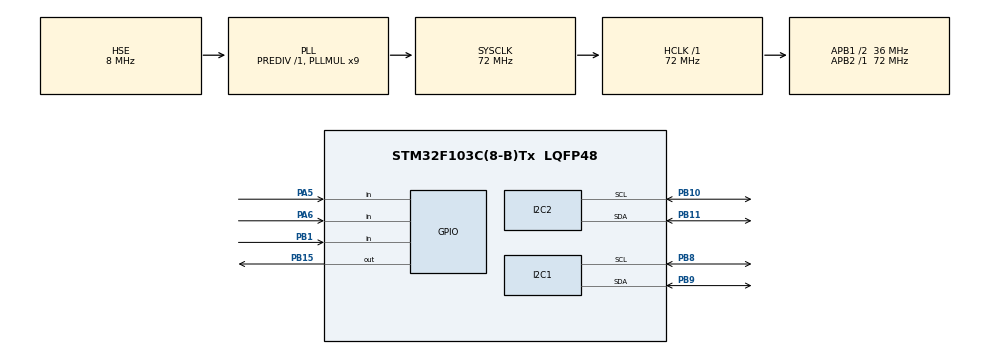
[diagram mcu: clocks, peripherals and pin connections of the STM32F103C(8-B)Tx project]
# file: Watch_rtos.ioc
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FREERTOS.Tasks01=defaultTask,24,128,StartDefaultTask,Default,NULL,Dynamic,NULL,NULL
Mcu.Family=STM32F1
Mcu.Name=STM32F103C(8-B)Tx
Mcu.Package=LQFP48
NVIC.PriorityGroup=NVIC_PRIORITYGROUP_4
NVIC.TIM4_IRQn=true\:15\:0\:false\:false\:true\:false\:false\:true\:true
NVIC.TimeBase=TIM4_IRQn
NVIC.TimeBaseIP=TIM4
PA13.Mode=Serial_Wire
PA13.Signal=SYS_JTMS-SWDIO
PA14.Mode=Serial_Wire
PA14.Signal=SYS_JTCK-SWCLK
PA5.GPIO_PuPd=GPIO_PULLUP
PA5.Signal=GPIO_Input
PA6.GPIO_PuPd=GPIO_PULLUP
PA6.Signal=GPIO_Input
PB1.GPIO_PuPd=GPIO_PULLUP
PB1.Signal=GPIO_Input
PB10.Mode=I2C
PB10.Signal=I2C2_SCL
PB11.Mode=I2C
PB11.Signal=I2C2_SDA
PB15.PinState=GPIO_PIN_SET
PB15.Signal=GPIO_Output
PB8.Mode=I2C
PB8.Signal=I2C1_SCL
PB9.Mode=I2C
PB9.Signal=I2C1_SDA
PD0-OSC_IN.Mode=HSE-External-Oscillator
PD0-OSC_IN.Signal=RCC_OSC_IN
PD1-OSC_OUT.Mode=HSE-External-Oscillator
PD1-OSC_OUT.Signal=RCC_OSC_OUT
ProjectManager.HeapSize=0x200
ProjectManager.StackSize=0x400
ProjectManager.TargetToolchain=MDK-ARM V5.32
RCC.AHBFreq_Value=72000000
RCC.APB1CLKDivider=RCC_HCLK_DIV2
RCC.APB1Freq_Value=36000000
RCC.APB1TimFreq_Value=72000000
RCC.APB2Freq_Value=72000000
RCC.APB2TimFreq_Value=72000000
RCC.HCLKFreq_Value=72000000
RCC.PLLMUL=RCC_PLL_MUL9
RCC.PLLSourceVirtual=RCC_PLLSOURCE_HSE
RCC.SYSCLKFreq_VALUE=72000000
RCC.SYSCLKSource=RCC_SYSCLKSOURCE_PLLCLK
RCC.USBFreq_Value=72000000
VP_FREERTOS_VS_CMSIS_V2.Mode=CMSIS_V2
VP_RTC_VS_RTC_Activate.Mode=RTC_Enabled
VP_RTC_VS_RTC_Calendar.Mode=RTC_Calendar
VP_SYS_VS_tim4.Mode=TIM4
board=custom

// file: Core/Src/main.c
/* USER CODE BEGIN Header */
/**
  ******************************************************************************
  * @file           : main.c
  * @brief          : Main program body
  ******************************************************************************
  * @attention
  *
  * Copyright (c) 2026 STMicroelectronics.
  * All rights reserved.
  *
  * This software is licensed under terms that can be found in the LICENSE file
  * in the root directory of this software component.
  * If no LICENSE file comes with this software, it is provided AS-IS.
  *
  ******************************************************************************
  */
/* USER CODE END Header */
#include "main.h"
#include "cmsis_os.h"
#include "i2c.h"
#include "rtc.h"
#include "gpio.h"

/* USER CODE BEGIN Includes */
#include "OLED.h"
#include <stdio.h>
#include <string.h>
/* USER CODE END Includes */

/* USER CODE BEGIN PV */
/* Stopwatch variables */
uint8_t SW_Running = 0;
uint8_t SW_Min = 0;
uint8_t SW_Sec = 0;
uint16_t SW_ms = 0;
/* USER CODE END PV */

void SystemClock_Config(void);
void MX_FREERTOS_Init(void);

int main(void)
{

  /* MCU Configuration--------------------------------------------------------*/

  /* Reset of all peripherals, Initializes the Flash interface and the Systick. */
  HAL_Init();

  /* Configure the system clock */
  SystemClock_Config();

  /* Initialize all configured peripherals */
  MX_GPIO_Init();
  MX_I2C1_Init();
  MX_I2C2_Init();
  MX_RTC_Init();

  /* Init scheduler */
  osKernelInitialize();

  /* Call init function for freertos objects (in cmsis_os2.c) */
  MX_FREERTOS_Init();

  /* Start scheduler */
  osKernelStart();

  /* We should never get here as control is now taken by the scheduler */

  /* Infinite loop */
  while (1)
  {

  }
}

void SystemClock_Config(void)
{
  RCC_OscInitTypeDef RCC_OscInitStruct = {0};
  RCC_ClkInitTypeDef RCC_ClkInitStruct = {0};
  RCC_PeriphCLKInitTypeDef PeriphClkInit = {0};

  /** Initializes the RCC Oscillators according to the specified parameters
  * in the RCC_OscInitTypeDef structure.
  */
  RCC_OscInitStruct.OscillatorType = RCC_OSCILLATORTYPE_LSI|RCC_OSCILLATORTYPE_HSE;
  RCC_OscInitStruct.HSEState = RCC_HSE_ON;
  RCC_OscInitStruct.HSEPredivValue = RCC_HSE_PREDIV_DIV1;
  RCC_OscInitStruct.HSIState = RCC_HSI_ON;
  RCC_OscInitStruct.LSIState = RCC_LSI_ON;
  RCC_OscInitStruct.PLL.PLLState = RCC_PLL_ON;
  RCC_OscInitStruct.PLL.PLLSource = RCC_PLLSOURCE_HSE;
  RCC_OscInitStruct.PLL.PLLMUL = RCC_PLL_MUL9;
  if (HAL_RCC_OscConfig(&RCC_OscInitStruct) != HAL_OK)
  {
    Error_Handler();
  }

  /** Initializes the CPU, AHB and APB buses clocks
  */
  RCC_ClkInitStruct.ClockType = RCC_CLOCKTYPE_HCLK|RCC_CLOCKTYPE_SYSCLK
                              |RCC_CLOCKTYPE_PCLK1|RCC_CLOCKTYPE_PCLK2;
  RCC_ClkInitStruct.SYSCLKSource = RCC_SYSCLKSOURCE_PLLCLK;
  RCC_ClkInitStruct.AHBCLKDivider = RCC_SYSCLK_DIV1;
  RCC_ClkInitStruct.APB1CLKDivider = RCC_HCLK_DIV2;
  RCC_ClkInitStruct.APB2CLKDivider = RCC_HCLK_DIV1;

  if (HAL_RCC_ClockConfig(&RCC_ClkInitStruct, FLASH_LATENCY_2) != HAL_OK)
  {
    Error_Handler();
  }
  PeriphClkInit.PeriphClockSelection = RCC_PERIPHCLK_RTC;
  PeriphClkInit.RTCClockSelection = RCC_RTCCLKSOURCE_LSI;
  if (HAL_RCCEx_PeriphCLKConfig(&PeriphClkInit) != HAL_OK)
  {
    Error_Handler();
  }
}

void HAL_TIM_PeriodElapsedCallback(TIM_HandleTypeDef *htim)
{
  if (htim->Instance == TIM4)
  {
    HAL_IncTick();
  }
}

void Error_Handler(void)
{
  __disable_irq();
  while (1)
  {
  }
}

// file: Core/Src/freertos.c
/* USER CODE BEGIN Header */
/**
  ******************************************************************************
  * File Name          : freertos.c
  * Description        : Code for freertos applications
  ******************************************************************************
  */
/* USER CODE END Header */

#include "FreeRTOS.h"
#include "task.h"
#include "cmsis_os.h"

/* USER CODE BEGIN Includes */
#include "main.h"
#include "OLED.h"
#include "SetTime.h"
#include "Key.h"
#include "MPU6050.h"
#include "rtc.h"
#include <stdio.h>
#include <math.h>
/* USER CODE END Includes */

osThreadId_t defaultTaskHandle;
osThreadId_t displayTaskHandle;
osThreadId_t buttonTaskHandle;
osThreadId_t systemTaskHandle;

const osThreadAttr_t defaultTask_attributes = {
  .name = "defaultTask",
  .stack_size = 128 * 4,
  .priority = (osPriority_t) osPriorityNormal,
};
const osThreadAttr_t displayTask_attributes = {
  .name = "displayTask",
  .stack_size = 256 * 4,
  .priority = (osPriority_t) osPriorityNormal,
};
const osThreadAttr_t buttonTask_attributes = {
  .name = "buttonTask",
  .stack_size = 128 * 4,
  .priority = (osPriority_t) osPriorityLow,
};
const osThreadAttr_t systemTask_attributes = {
  .name = "systemTask",
  .stack_size = 128 * 4,
  .priority = (osPriority_t) osPriorityNormal,
};

void StartDefaultTask(void *argument);

/* USER CODE BEGIN FunctionPrototypes */
void StartDisplayTask(void *argument);
void StartButtonTask(void *argument);
void StartSystemTask(void *argument);
/* External variables provided by other modules */
extern RTC_HandleTypeDef hrtc;
extern uint8_t stopwatch_running;
extern uint8_t stopwatch_minutes;
extern uint8_t stopwatch_seconds;
extern uint16_t stopwatch_ms;
extern uint8_t led_on;
extern volatile uint8_t menu_state;
extern volatile uint8_t menu_select;
extern volatile uint8_t func_menu_index;
extern volatile uint8_t set_menu_index;
extern volatile uint8_t func_active_index;
extern volatile uint8_t set_edit_mode;
/* USER CODE END FunctionPrototypes */

void StartDefaultTask(void *argument);

void MX_FREERTOS_Init(void); /* (MISRA C 2004 rule 8.1) */

void MX_FREERTOS_Init(void) {

  /* Create the thread(s) */
  /* creation of defaultTask */
  defaultTaskHandle = osThreadNew(StartDefaultTask, NULL, &defaultTask_attributes);
  /* USER CODE BEGIN RTOS_THREADS */
  /* add threads, ... */
  /* creation of display, button and system tasks */
  displayTaskHandle = osThreadNew(StartDisplayTask, NULL, &displayTask_attributes);
  buttonTaskHandle = osThreadNew(StartButtonTask, NULL, &buttonTask_attributes);
  systemTaskHandle = osThreadNew(StartSystemTask, NULL, &systemTask_attributes);
  /* USER CODE END RTOS_THREADS */

}

void StartDefaultTask(void *argument)
{
  for(;;)
  {
    osDelay(1);
  }
}

/* USER CODE BEGIN Application */
/* Flag set when MPU6050 has been initialized by system task */
static volatile uint8_t mpu_ready = 0;
/* Shared MPU values updated by system task (avoids I2C in display task) */
static volatile int16_t mpu_ax = 0;
static volatile int16_t mpu_ay = 0;
static volatile int16_t mpu_az = 0;
static volatile int16_t mpu_gx = 0;
static volatile int16_t mpu_gy = 0;
static volatile int16_t mpu_gz = 0;
/* Request a one-time full clear on next display loop when entering an app */
static volatile uint8_t need_full_clear = 0;

/* Local edit buffer used when editing time fields */
static uint8_t edit_time_buf[6]; /* Year(0-99), Mon, Day, Hour, Min, Sec */

static void LoadRTCToBuf(uint8_t buf[6])
{
  RTC_TimeTypeDef sTime = {0};
  RTC_DateTypeDef sDate = {0};
  HAL_RTC_GetTime(&hrtc, &sTime, RTC_FORMAT_BIN);
  HAL_RTC_GetDate(&hrtc, &sDate, RTC_FORMAT_BIN);

  buf[0] = sDate.Year;
  buf[1] = sDate.Month;
  buf[2] = sDate.Date;
  buf[3] = sTime.Hours;
  buf[4] = sTime.Minutes;
  buf[5] = sTime.Seconds;
}

static void SaveBufToRTC(uint8_t buf[6])
{
  RTC_TimeTypeDef sTime = {0};
  RTC_DateTypeDef sDate = {0};

  sDate.Year = buf[0];
  sDate.Month = buf[1];
  sDate.Date = buf[2];

  sTime.Hours = buf[3];
  sTime.Minutes = buf[4];
  sTime.Seconds = buf[5];

  HAL_RTC_SetTime(&hrtc, &sTime, RTC_FORMAT_BIN);
  HAL_RTC_SetDate(&hrtc, &sDate, RTC_FORMAT_BIN);
}

/* Display task: renders clock, function menu, and settings UI */
void StartDisplayTask(void *argument)
{
  char display_str[64];
  /* Initialize OLED once (I2C1 must be initialized in main before scheduler start) */
  OLED_Init();
  static int last_menu_state_display = -1;
  static int last_func_active_display = -1;
  for(;;)
  {
    /* If requested, perform a one-time full clear before drawing new app */
    if (need_full_clear)
    {
      OLED_Clear();
      OLED_Update();
      need_full_clear = 0;
      osDelay(20);
    }
    /* Fast-path: when in stopwatch active view, do partial updates at higher rate */
    if(menu_state == 3 && func_active_index == 3)
    {
      static int last_menu_state = -1;
      static int last_func_active = -1;
      static uint8_t last_running = 0xFF;
      static uint8_t last_min = 0xFF, last_sec = 0xFF;
      static uint16_t last_ms = 0xFFFF;

      /* First entry into this view: full redraw */
      if(last_menu_state != menu_state || last_func_active != func_active_index)
      {
        OLED_Clear();
        OLED_ShowString(30, 0, "Stopwatch", 8);
        char buf[32];
        sprintf(buf, "%02d:%02d.%03d", stopwatch_minutes, stopwatch_seconds, stopwatch_ms);
        OLED_ShowString(20, 22, buf, 12);
        OLED_ShowString(0, 56, "< Back", 6);
        OLED_ShowString(64, 56, "Reset", 6);
        if(stopwatch_running)
          OLED_ShowString(100, 56, "Stop", 6);
        else
          OLED_ShowString(100, 56, "Start", 6);
        OLED_Update();

        last_running = stopwatch_running;
        last_min = stopwatch_minutes;
        last_sec = stopwatch_seconds;
        last_ms = stopwatch_ms;
        last_menu_state = menu_state;
        last_func_active = func_active_index;
      }
      else
      {
        /* Update only changing parts: digits and start/stop label */
        if(last_min != stopwatch_minutes || last_sec != stopwatch_seconds || last_ms != stopwatch_ms)
        {
          char buf[32];
          sprintf(buf, "%02d:%02d.%03d", stopwatch_minutes, stopwatch_seconds, stopwatch_ms);
          OLED_ShowString(20, 22, buf, 12);
          /* update only digit area */
          OLED_UpdateArea(20, 20, 108, 24);
          last_min = stopwatch_minutes;
          last_sec = stopwatch_seconds;
          last_ms = stopwatch_ms;
        }
        if(last_running != stopwatch_running)
        {
          if(stopwatch_running)
            OLED_ShowString(100, 56, "Stop", 6);
          else
            OLED_ShowString(100, 56, "Start", 6);
          OLED_UpdateArea(100, 56, 28, 8);
          last_running = stopwatch_running;
        }
      }

      osDelay(30); /* ~33Hz partial refresh for smoother ms */
      continue; /* skip the full redraw path */
    }

    /* Avoid clearing when in Level view (we do area-updates there) */
    if (!(menu_state == 3 && func_active_index == 1))
    {
      OLED_Clear();
    }

    if(menu_state == 0)
    {
      /* Main clock view */
      RTC_TimeTypeDef sTime = {0};
      RTC_DateTypeDef sDate = {0};
      HAL_RTC_GetTime(&hrtc, &sTime, RTC_FORMAT_BIN);
      HAL_RTC_GetDate(&hrtc, &sDate, RTC_FORMAT_BIN);

      /* Date top-left */
      sprintf(display_str, "%04d-%02d-%02d", 2000 + sDate.Year, sDate.Month, sDate.Date);
      OLED_ShowString(0, 0, display_str, 6);

      /* Time center (hours:minutes) */
      sprintf(display_str, "%02d:%02d", sTime.Hours, sTime.Minutes);
      OLED_ShowString(16, 16, display_str, 12);
      /* Seconds small */
      sprintf(display_str, ":%02d", sTime.Seconds);
      OLED_ShowString(96, 24, display_str, 6);

      /* Bottom selection markers */
      if(menu_select == 0)
        OLED_ReverseArea(0, 56, 64, 8);
      else
        OLED_ReverseArea(64, 56, 64, 8);

      OLED_ShowString(2, 56, "Menu", 6);
      OLED_ShowString(70, 56, "Settings", 6);
    }
    else if(menu_state == 1)
    {
      /* Function menu */
      OLED_ShowString(30, 0, "Functions", 8);
      char *func_names[] = {"Flashlight", "Level", "Yaw", "Stopwatch"};
      for(int i = 0; i < 4; i++)
      {
        uint8_t y = 14 + i * 11;
        if(i == func_menu_index)
          OLED_ReverseArea(0, y - 2, 128, 10);
        OLED_ShowString(5, y, func_names[i], 6);
      }
      OLED_ShowString(0, 56, "< Back", 6);
      OLED_ShowString(90, 56, "Enter", 6);
    }
    else if(menu_state == 3)
    {
      /* Active function screen */
      if(func_active_index == 0) /* Flashlight */
      {
        OLED_ShowString(30, 0, "Flashlight", 8);
        if(led_on)
          OLED_ShowString(40, 28, "ON", 12);
        else
          OLED_ShowString(36, 28, "OFF", 12);
        OLED_ShowString(0, 56, "< Back", 6);
      }
      else if(func_active_index == 1) /* Level */
      {
        /* If MPU not initialized yet, show hint and skip sensor read */
        if (!mpu_ready)
        {
          OLED_ShowString(34, 20, "MPU init...", 8);
          OLED_ShowString(0, 56, "< Back", 6);
          OLED_UpdateArea(34, 20, 60, 12);
          OLED_UpdateArea(0, 56, 128, 8);
          osDelay(200);
          continue;
        }
        else
        {
          /* On first entry to Level view, clear whole screen once to avoid leftover pixels */
          if (last_menu_state_display != menu_state || last_func_active_display != func_active_index)
          {
            OLED_Clear();
            OLED_Update();
            last_menu_state_display = menu_state;
            last_func_active_display = func_active_index;
          }
          /* Use shared MPU samples (updated in system task) */
          float angleXf = atan2f((float)mpu_ax, (float)mpu_az) * 57.2957795f; /* X-axis tilt */
          float angleYf = atan2f((float)mpu_ay, (float)mpu_az) * 57.2957795f; /* Y-axis tilt */

          /* Screen and circle geometry */
          const int16_t screenW = 128;
          const int16_t screenH = 64;
          const int16_t cx = screenW / 2;
          const int16_t cy = screenH / 2;
          const int16_t radius = ( (screenW < screenH) ? (screenW/2) : (screenH/2) ) - 2;

          /* Map tilt to circle displacement. maxAngle maps to full radius. */
          const float maxAngle = 45.0f; /* degrees mapped to edge */
          float dx = -(angleYf / maxAngle) * (float)radius;
          float dy = -(angleXf / maxAngle) * (float)radius;
          if (dx > radius) dx = radius; if (dx < -radius) dx = -radius;
          if (dy > radius) dy = radius; if (dy < -radius) dy = -radius;

          int16_t dotX = cx + (int16_t)dx;
          int16_t dotY = cy + (int16_t)dy;

          /* Bounding box for circle area */
          int16_t x0 = cx - radius;
          int16_t y0 = cy - radius;
          if (x0 < 0) x0 = 0;
          if (y0 < 0) y0 = 0;
          uint8_t width = (uint8_t)((cx + radius) - x0 + 1);
          uint8_t height = (uint8_t)((cy + radius) - y0 + 1);

          /* Clear and redraw only the circle area in the buffer, then transmit it */
          OLED_ClearArea(x0, y0, width, height);
          OLED_DrawCircle(cx, cy, radius, OLED_UNFILLED);
          OLED_DrawLine(cx - radius, cy, cx + radius, cy);
          OLED_DrawLine(cx, cy - radius, cx, cy + radius);
          OLED_DrawCircle(dotX, dotY, 2, OLED_FILLED);
          OLED_UpdateArea(x0, y0, width, height);

          /* Update numeric readout (top) and back label (bottom) separately */
          char buf[32];
          sprintf(buf, "X:%+03d Y:%+03d", (int)angleXf, (int)angleYf);
          OLED_ShowString(0, 0, buf, 6);
          OLED_UpdateArea(0, 0, 128, 8);
          OLED_ShowString(0, 56, "< Back", 6);
          OLED_UpdateArea(0, 56, 128, 8);

          osDelay(30); /* ~33Hz updates for smoother movement */
          continue;
        }
      }
      else if(func_active_index == 2) /* Yaw */
      {
        /* Use shared gyro Z value updated by system task */
        char buf[32];
        int yaw10 = (int)(((float)mpu_gz / 131.0f) * 10.0f);
        OLED_ShowString(36, 0, "Yaw", 8);
        sprintf(buf, "Rate:%+d.%d dps", yaw10/10, abs(yaw10)%10);
        OLED_ShowString(0, 24, buf, 8);
        OLED_ShowString(0, 56, "< Back", 6);
      }
      else if(func_active_index == 3) /* Stopwatch */
      {
        char buf[32];
        OLED_ShowString(30, 0, "Stopwatch", 8);
        sprintf(buf, "%02d:%02d.%03d", stopwatch_minutes, stopwatch_seconds, stopwatch_ms);
        OLED_ShowString(20, 22, buf, 12);
        OLED_ShowString(0, 56, "< Back", 6);
        OLED_ShowString(90, 56, "Start", 6);
      }
    }
    else if(menu_state == 2)
    {
      if(set_edit_mode == 0)
      {
        OLED_ShowString(30, 0, "Set Time", 8);
        char *set_names[] = {"Year", "Mon", "Day", "Hour", "Min", "Sec"};
        LoadRTCToBuf(edit_time_buf);
        for(int i = 0; i < 6; i++)
        {
          uint8_t y = 14 + i * 8;
          sprintf(display_str, "%s: %02d", set_names[i], edit_time_buf[i]);
          if(i == set_menu_index)
            OLED_ReverseArea(0, y - 2, 128, 10);
          OLED_ShowString(0, y, display_str, 6);
        }
        OLED_ShowString(0, 56, "< Back", 6);
        OLED_ShowString(90, 56, "Edit", 6);
      }
      else
      {
        /* Editing a single field */
        char *set_names[] = {"Year", "Mon", "Day", "Hour", "Min", "Sec"};
        char hint_buf[32];
        sprintf(display_str, "%s", set_names[set_menu_index]);
        OLED_ShowString(24, 0, "Edit Value", 8);
        sprintf(display_str, "%02d", edit_time_buf[set_menu_index]);
        OLED_ShowString(36, 20, display_str, 12);
        /* Hint */
        switch(set_menu_index)
        {
          case 0: sprintf(hint_buf, "Year: 00-99"); break;
          case 1: sprintf(hint_buf, "Month: 1-12"); break;
          case 2: sprintf(hint_buf, "Day: 1-31"); break;
          case 3: sprintf(hint_buf, "Hour: 0-23"); break;
          default: sprintf(hint_buf, "00-59"); break;
        }
        OLED_ShowString(8, 44, hint_buf, 6);
        OLED_ShowString(0, 56, "< Cancel", 6);
        OLED_ShowString(90, 56, "OK", 6);
      }
    }

    OLED_Update();
    osDelay(100); /* increase non-stopwatch frame rate to 10Hz */
  }
}

/* Button task: handle left/right/confirm and editing actions */
void StartButtonTask(void *argument)
{
  GPIO_PinState left_last = HAL_GPIO_ReadPin(GPIOB, GPIO_PIN_1);
  GPIO_PinState right_last = HAL_GPIO_ReadPin(GPIOA, GPIO_PIN_6);
  GPIO_PinState confirm_last = HAL_GPIO_ReadPin(GPIOA, GPIO_PIN_4);

  for(;;)
  {
    GPIO_PinState left_read = HAL_GPIO_ReadPin(GPIOB, GPIO_PIN_1);
    GPIO_PinState right_read = HAL_GPIO_ReadPin(GPIOA, GPIO_PIN_6);
    GPIO_PinState confirm_read = HAL_GPIO_ReadPin(GPIOA, GPIO_PIN_4);

    /* Left falling edge */
    if(left_read == GPIO_PIN_RESET && left_last == GPIO_PIN_SET)
    {
      if(menu_state == 0)
      {
        menu_select = 0;
      }
      else if(menu_state == 3)
      {
        /* From active function -> back to function menu */
        menu_state = 1;
      }
      else
      {
        /* Back to main screen (also save if leaving settings) */
        if(menu_state == 2) SaveBufToRTC(edit_time_buf);
        set_edit_mode = 0;
        menu_state = 0;
        menu_select = 0;
      }
    }

    /* Right falling edge */
    if(right_read == GPIO_PIN_RESET && right_last == GPIO_PIN_SET)
    {
      if(menu_state == 0)
      {
        menu_select = 1;
      }
      else if(menu_state == 1)
      {
        func_menu_index = (func_menu_index + 1) % 4;
      }
      else if(menu_state == 2)
      {
        if(set_edit_mode)
        {
          /* increase field */
          uint8_t idx = set_menu_index;
          switch(idx)
          {
            case 0: edit_time_buf[idx] = (edit_time_buf[idx] + 1) % 100; break;
            case 1: edit_time_buf[idx] = (edit_time_buf[idx] % 12) + 1; break;
            case 2: edit_time_buf[idx] = (edit_time_buf[idx] % 31) + 1; break;
            case 3: edit_time_buf[idx] = (edit_time_buf[idx] + 1) % 24; break;
            default: edit_time_buf[idx] = (edit_time_buf[idx] + 1) % 60; break;
          }
        }
        else
        {
          set_menu_index = (set_menu_index + 1) % 6;
        }
      }
      else if(menu_state == 3)
      {
        /* In active function screen: right button - for stopwatch, reset when stopped */
        if(func_active_index == 3)
        {
          if(!stopwatch_running)
          {
            stopwatch_ms = 0;
            stopwatch_seconds = 0;
            stopwatch_minutes = 0;
          }
        }
      }
    }

    /* Confirm falling edge */
    if(confirm_read == GPIO_PIN_RESET && confirm_last == GPIO_PIN_SET)
    {
      if(menu_state == 0)
      {
        if(menu_select == 0)
        {
          menu_state = 1;
          func_menu_index = 0;
        }
        else
        {
          /* request full clear before entering settings app */
          need_full_clear = 1;
          menu_state = 2;
          set_menu_index = 0;
          set_edit_mode = 0;
          LoadRTCToBuf(edit_time_buf);
        }
      }
      else if(menu_state == 1)
      {
        /* Enter selected function view */
        /* request full clear before entering function app */
        need_full_clear = 1;
        func_active_index = func_menu_index;
        menu_state = 3; /* active function screen */
      }
      else if(menu_state == 3)
      {
        /* In active function screen: confirm triggers actions */
        if(func_active_index == 0)
        {
          led_on = !led_on;
        }
        else if(func_active_index == 3)
        {
          stopwatch_running = !stopwatch_running;
        }
      }
      else if(menu_state == 2)
      {
        if(set_edit_mode == 0)
        {
          /* enter edit mode */
          set_edit_mode = 1;
        }
        else
        {
          /* confirm current field and move to next */
          if(set_menu_index < 5)
          {
            set_menu_index++;
            /* keep editing next field */
            set_edit_mode = 1;
          }
          else
          {
            /* last field -> save and return */
            SaveBufToRTC(edit_time_buf);
            set_edit_mode = 0;
            menu_state = 0;
            menu_select = 0;
          }
        }
      }
    }

    left_last = left_read;
    right_last = right_read;
    confirm_last = confirm_read;

    osDelay(60);
  }
}

/* System task: stopwatch timing and LED control */
void StartSystemTask(void *argument)
{
  /* initialize MPU6050 sensor (I2C2) */
  MPU6050_Init();
  /* mark MPU as ready for other tasks */
  mpu_ready = 1;
  osDelay(50);
  for(;;)
  {
    /* Read MPU data here once per loop to avoid I2C from display task */
    if (mpu_ready)
    {
      int16_t tax, tay, taz, tgx, tgy, tgz;
      MPU6050_GetData(&tax, &tay, &taz, &tgx, &tgy, &tgz);
      mpu_ax = tax;
      mpu_ay = tay;
      mpu_az = taz;
      mpu_gx = tgx;
      mpu_gy = tgy;
      mpu_gz = tgz;
    }

    if(stopwatch_running)
    {
      stopwatch_ms += 10; /* 10ms resolution */
      if(stopwatch_ms >= 1000)
      {
        stopwatch_ms -= 1000;
        stopwatch_seconds++;
        if(stopwatch_seconds >= 60)
        {
          stopwatch_seconds = 0;
          stopwatch_minutes++;
          if(stopwatch_minutes >= 100) stopwatch_minutes = 0;
        }
      }
    }

    /* LED: PB15 active low */
    if(led_on)
      HAL_GPIO_WritePin(GPIOB, GPIO_PIN_15, GPIO_PIN_RESET);
    else
      HAL_GPIO_WritePin(GPIOB, GPIO_PIN_15, GPIO_PIN_SET);

    osDelay(10);
  }
}

/* USER CODE END Application */
